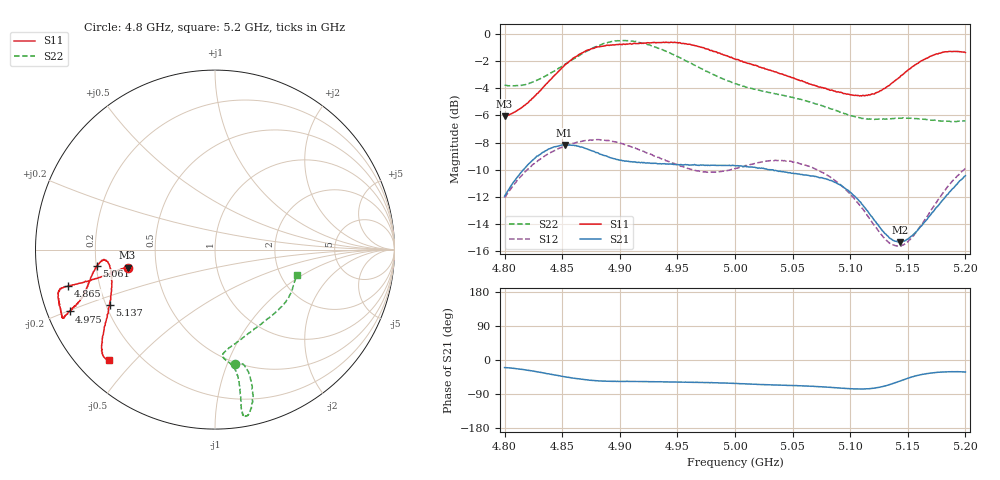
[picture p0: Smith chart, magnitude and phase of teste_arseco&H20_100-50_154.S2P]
! Network Analyzer HP8722D
! Hewlett-Packard
! Data name: Linha & Wilkinson
! Saver's name: Rodrigo Anjos
! Comments: Teste da utilização de aquisição
! continua pelo VNA HP8722D
! Time and date: 6/5/2025 13:51
!  Frequency  S11  S21  S12  S22
# HZ  S  MA R 50
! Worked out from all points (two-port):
!   401 points, 4.8 GHz to 5.2 GHz, reference 50 ohm
!   highest |S21| = -8.17 dB at 4.852 GHz (marker M1); lowest = -15.3 dB at 5.143 GHz (marker M2)
!   |S21| within 3 dB of the highest: 4.806 GHz to 5.092 GHz (286.8 MHz wide, 5.79 % of centre); 5.191434 GHz to end of sweep
!   lowest |S11| = -6.1 dB at 4.8 GHz (marker M3), VSWR 2.98, Z = 16.9 - j4.53 ohm
!   |S11| at or under -10 dB: nowhere
!   |S22| runs from -6.5 to -0.5 dB; largest |S21 - S12| = 0.62
!   S11 on the Smith chart (normalised r, x): 4.8 GHz: 0.34, -0.09; 4.865 GHz: 0.09, -0.12; 4.975 GHz: 0.07, -0.20; 5.061 GHz: 0.20, -0.07; 5.137 GHz: 0.21, -0.23; 5.2 GHz: 0.09, -0.42
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4.8e9  0.4973 -168.3  0.2531 -20.0  0.2497 -141.1  0.6475 -80.3
4.826e9  0.5893 -167.4  0.348 -29.9  0.3336 -144.8  0.6689 -75.7
4.852e9  0.765 -166.0  0.3906 -44.1  0.3862 -149.7  0.7706 -74.6
4.865e9  0.841 -166.1  0.3846 -50.1  0.4006 -151.9  0.8319 -75.3
4.867e9  0.8496 -166.1  0.3836 -51.0  0.4026 -152.3  0.844 -75.5
4.88e9  0.8924 -165.7  0.3658 -54.7  0.4083 -154.4  0.8986 -76.9
4.9e9  0.9148 -162.9  0.343 -56.5  0.396 -156.7  0.9422 -79.2
4.934e9  0.9287 -156.6  0.3329 -57.6  0.3513 -155.8  0.8829 -80.5
4.953e9  0.9233 -155.8  0.3308 -58.3  0.3255 -152.2  0.813 -80.0
4.975e9  0.8808 -157.0  0.3287 -59.5  0.3101 -145.4  0.7278 -79.8
5e9  0.8079 -159.1  0.3275 -61.9  0.3197 -137.4  0.6557 -81.3
5.035e9  0.7244 -165.4  0.3148 -66.0  0.3428 -134.5  0.6014 -85.7
5.061e9  0.664 -172.1  0.3025 -68.6  0.329 -136.5  0.5677 -84.0
5.067e9  0.6489 -173.1  0.3003 -69.2  0.3225 -137.0  0.5572 -82.6
5.082e9  0.6211 -174.9  0.2894 -72.1  0.2985 -138.4  0.5316 -77.1
5.103e9  0.5943 -171.7  0.2546 -76.2  0.2495 -138.8  0.4971 -65.2
5.134e9  0.6458 -154.3  0.1778 -65.3  0.1702 -120.5  0.4876 -43.3
5.137e9  0.6626 -152.5  0.1741 -62.1  0.1678 -116.6  0.4879 -41.5
5.143e9  0.6925 -149.2  0.1715 -55.6  0.1661 -108.8  0.4896 -37.9
5.154e9  0.757 -144.6  0.1814 -44.4  0.1796 -94.9  0.4884 -32.3
5.173e9  0.8369 -139.1  0.2244 -33.3  0.2338 -80.8  0.4816 -24.3
5.2e9  0.8527 -133.8  0.3007 -31.7  0.32 -77.1  0.4782 -17.5
